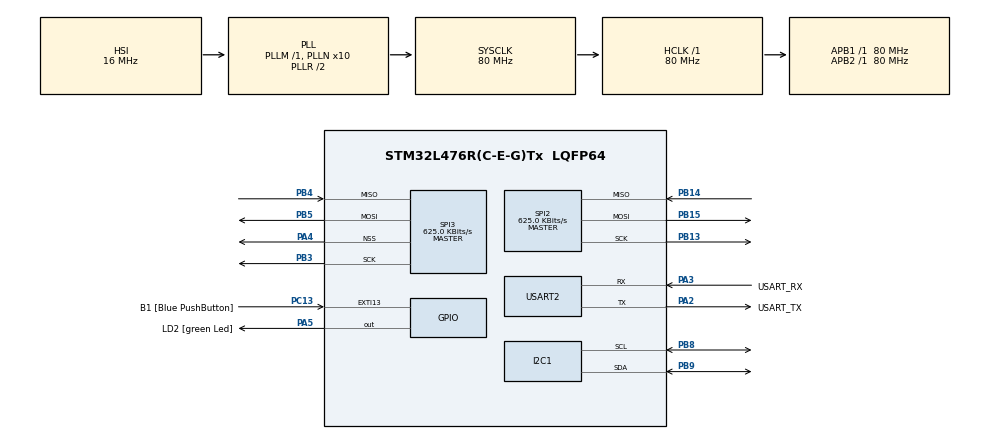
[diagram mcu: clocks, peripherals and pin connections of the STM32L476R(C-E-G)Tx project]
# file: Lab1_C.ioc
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I2C1.Timing=0x10909CEC
Mcu.Family=STM32L4
Mcu.Name=STM32L476R(C-E-G)Tx
Mcu.Package=LQFP64
NVIC.EXTI15_10_IRQn=true\:0\:0\:false\:false\:true\:true\:true\:true
NVIC.PriorityGroup=NVIC_PRIORITYGROUP_4
PA13\ (JTMS-SWDIO).GPIO_Label=TMS
PA13\ (JTMS-SWDIO).Mode=Serial_Wire
PA13\ (JTMS-SWDIO).Signal=SYS_JTMS-SWDIO
PA14\ (JTCK-SWCLK).GPIO_Label=TCK
PA14\ (JTCK-SWCLK).Mode=Serial_Wire
PA14\ (JTCK-SWCLK).Signal=SYS_JTCK-SWCLK
PA2.GPIO_Label=USART_TX
PA2.GPIO_Mode=GPIO_MODE_AF_PP
PA2.GPIO_PuPd=GPIO_NOPULL
PA2.GPIO_Speed=GPIO_SPEED_FREQ_VERY_HIGH
PA2.Mode=Asynchronous
PA2.Signal=USART2_TX
PA3.GPIO_Label=USART_RX
PA3.GPIO_Mode=GPIO_MODE_AF_PP
PA3.GPIO_PuPd=GPIO_NOPULL
PA3.GPIO_Speed=GPIO_SPEED_FREQ_VERY_HIGH
PA3.Mode=Asynchronous
PA3.Signal=USART2_RX
PA4.Mode=NSS_Signal_Hard_Output
PA4.Signal=SPI3_NSS
PA5.GPIO_Label=LD2 [green Led]
PA5.GPIO_ModeDefaultOutputPP=GPIO_MODE_OUTPUT_PP
PA5.GPIO_PuPd=GPIO_NOPULL
PA5.GPIO_Speed=GPIO_SPEED_FREQ_LOW
PA5.Signal=GPIO_Output
PB13.Mode=Full_Duplex_Master
PB13.Signal=SPI2_SCK
PB14.Mode=Full_Duplex_Master
PB14.Signal=SPI2_MISO
PB15.Mode=Full_Duplex_Master
PB15.Signal=SPI2_MOSI
PB3\ (JTDO-TRACESWO).Mode=Full_Duplex_Master
PB3\ (JTDO-TRACESWO).Signal=SPI3_SCK
PB4\ (NJTRST).Mode=Full_Duplex_Master
PB4\ (NJTRST).Signal=SPI3_MISO
PB5.Mode=Full_Duplex_Master
PB5.Signal=SPI3_MOSI
PB8.Mode=I2C
PB8.Signal=I2C1_SCL
PB9.Mode=I2C
PB9.Signal=I2C1_SDA
PC13.GPIO_Label=B1 [Blue PushButton]
PC13.GPIO_ModeDefaultEXTI=GPIO_MODE_IT_FALLING
PC13.GPIO_PuPd=GPIO_NOPULL
PC13.Signal=GPXTI13
PC14-OSC32_IN\ (PC14).Mode=LSE-External-Oscillator
PC14-OSC32_IN\ (PC14).Signal=RCC_OSC32_IN
PC15-OSC32_OUT\ (PC15).Mode=LSE-External-Oscillator
PC15-OSC32_OUT\ (PC15).Signal=RCC_OSC32_OUT
PH0-OSC_IN\ (PH0).Signal=RCC_OSC_IN
PH1-OSC_OUT\ (PH1).Signal=RCC_OSC_OUT
ProjectManager.HeapSize=0x200
ProjectManager.StackSize=0x400
ProjectManager.TargetToolchain=STM32CubeIDE
RCC.ADCFreq_Value=64000000
RCC.AHBFreq_Value=80000000
RCC.APB1Freq_Value=80000000
RCC.APB1TimFreq_Value=80000000
RCC.APB2Freq_Value=80000000
RCC.APB2TimFreq_Value=80000000
RCC.CortexFreq_Value=80000000
RCC.HCLKFreq_Value=80000000
RCC.HSE_VALUE=8000000
RCC.HSI_VALUE=16000000
RCC.MSI_VALUE=4000000
RCC.PLLN=10
RCC.PLLSourceVirtual=RCC_PLLSOURCE_HSI
RCC.PREFETCH_ENABLE=1
RCC.SYSCLKFreq_VALUE=80000000
RCC.SYSCLKSource=RCC_SYSCLKSOURCE_PLLCLK
RCC.USBFreq_Value=64000000
RCC.VCOOutputFreq_Value=160000000
SPI2.BaudRatePrescaler=SPI_BAUDRATEPRESCALER_128
SPI2.CLKPhase=SPI_PHASE_2EDGE
SPI2.CalculateBaudRate=625.0 KBits/s
SPI2.DataSize=SPI_DATASIZE_8BIT
SPI2.Direction=SPI_DIRECTION_2LINES
SPI2.Mode=SPI_MODE_MASTER
SPI2.VirtualType=VM_MASTER
SPI3.BaudRatePrescaler=SPI_BAUDRATEPRESCALER_128
SPI3.CalculateBaudRate=625.0 KBits/s
SPI3.DataSize=SPI_DATASIZE_8BIT
SPI3.Direction=SPI_DIRECTION_2LINES
SPI3.Mode=SPI_MODE_MASTER
SPI3.VirtualNSS=VM_NSSHARD
SPI3.VirtualType=VM_MASTER
USART2.VirtualMode-Asynchronous=VM_ASYNC
VP_FATFS_VS_Generic.Mode=User_defined
board=NUCLEO-L476RG

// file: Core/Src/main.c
/* USER CODE BEGIN Header */
/**
 ******************************************************************************
 * @file           : main.c
 * @brief          : Main program body
 ******************************************************************************
 * @attention
 *
 * Copyright (c) 2024 STMicroelectronics.
 * All rights reserved.
 *
 * This software is licensed under terms that can be found in the LICENSE file
 * in the root directory of this software component.
 * If no LICENSE file comes with this software, it is provided AS-IS.
 *
 ******************************************************************************
 */
/* USER CODE END Header */
#include "main.h"
#include "fatfs.h"

/* USER CODE BEGIN Includes */
#include <string.h>
#include <stdio.h>
#include "stdarg.h"
/* USER CODE END Includes */

/* USER CODE BEGIN PD */
#define DEBUG_PRINT
//#define REALTIME
//#define BINARY_WRITE
/* USER CODE END PD */

I2C_HandleTypeDef hi2c1;

SPI_HandleTypeDef hspi2;
SPI_HandleTypeDef hspi3;

UART_HandleTypeDef huart2;

/* USER CODE BEGIN PV */
// Memory Address for Light Sensor
uint8_t BH1721_ADDR_read = 0x47; // Use 7-bit address + R/W bit
uint8_t BH1721_ADDR_write = 0x46; // Use 7-bit address + R/W bit
uint8_t BH1721_start = 0x01; // Power On
uint8_t BH1721_LRC = 0x13; // continuous low resolution (largest range)

// For Temperature Sensor
uint8_t TC72_WR = 0x80;
uint8_t TC72_OP = 0x12;
uint8_t TC72_RR = 0x03;
//uint8_t TC72_TEMP = 0x15;

uint8_t unmount = 0;

/* USER CODE END PV */

void SystemClock_Config(void);
static void MX_GPIO_Init(void);
static void MX_USART2_UART_Init(void);
static void MX_I2C1_Init(void);
static void MX_SPI2_Init(void);
static void MX_SPI3_Init(void);
/* USER CODE BEGIN PFP */
void myprintf(const char *fmt, ...);
/* USER CODE END PFP */

/* USER CODE BEGIN 0 */
// Interrrupt Handler for Blue Button
void HAL_GPIO_EXTI_Callback(uint16_t GPIO_Pin) {
	if (GPIO_Pin == B1_Pin) {
		unmount = 1;
	}
}

void myprintf(const char *fmt, ...) {
	static char buffer[512];
	va_list args;
	va_start(args, fmt);
	vsnprintf(buffer, sizeof(buffer), fmt, args);
	va_end(args);
	int len = strlen(buffer);
	HAL_UART_Transmit(&huart2, (uint8_t*) buffer, len, -1);
}
/* USER CODE END 0 */

int main(void)
{
  /* USER CODE BEGIN 1 */
	HAL_StatusTypeDef ret;
	uint8_t buf[8];

	char spi_buf[10];

	uint16_t light_val;
	uint8_t flag;
	float lux;
	float temp;

	uint32_t prev_tick;
	uint32_t curr_tick;
	uint32_t delta_tick;
	uint32_t init_tick;
	uint32_t led_tick;
	float time;
	uint8_t led_state;

	//some variables for FatFs
	FATFS FatFs; 	//Fatfs handle
	FRESULT fres; //Result after operations
	FIL fil;
	UINT bytesWrote;
	char str_buf[100];
	float write_buf[3];
	int str_buf_len;

  /* USER CODE END 1 */

  /* MCU Configuration--------------------------------------------------------*/

  /* Reset of all peripherals, Initializes the Flash interface and the Systick. */
  HAL_Init();

  /* Configure the system clock */
  SystemClock_Config();

  /* Initialize all configured peripherals */
  MX_GPIO_Init();
  MX_USART2_UART_Init();
  MX_I2C1_Init();
  MX_SPI2_Init();
  MX_SPI3_Init();
  MX_FATFS_Init();
  /* USER CODE BEGIN 2 */

	// Tell BH1721 to start measurements
	ret = HAL_I2C_Master_Transmit(&hi2c1, BH1721_ADDR_write, &BH1721_start, 1,
	HAL_MAX_DELAY);
	if (ret != HAL_OK) {
		myprintf("Error!\n"); // error message in UART
	}

	// Mount SD Card
	fres = f_mount(&FatFs, "", 1); //1=mount now
	if (fres != FR_OK) {
		myprintf("f_mount error (%i)\r\n", fres);
		while (1)
			;
	}

	// Check available space on SD Card
	DWORD free_clusters, free_sectors, total_sectors;
	FATFS *getFreeFs;

	fres = f_getfree("", &free_clusters, &getFreeFs);
	if (fres != FR_OK) {
		myprintf("f_getfree error (%i)\r\n", fres);
		while (1)
			;
	}
	total_sectors = (getFreeFs->n_fatent - 2) * getFreeFs->csize;
	free_sectors = free_clusters * getFreeFs->csize;

	myprintf(
			"SD card stats:\r\n%ld kB total drive space.\r\n%ld kB available.\r\n",
			total_sectors / 2, free_sectors / 2);

#ifdef BINARY_WRITE
	// Write File Header
	fres = f_open(&fil, "data.bin", FA_CREATE_ALWAYS | FA_WRITE); // new file is created
	f_close(&fil); // close file
#else
	// Write File Header
	fres = f_open(&fil, "data.txt", FA_CREATE_ALWAYS | FA_WRITE); // new file is created
	f_lseek(&fil, f_size(&fil)); //put the file pointer to end of file
	str_buf_len = sprintf(str_buf, "Time; Temperature; Luminosity\r\n"); // generate string to write
	fres = f_write(&fil, str_buf, str_buf_len, &bytesWrote); //write
	f_close(&fil); // close file
#endif
	// LED on
	HAL_GPIO_WritePin(GPIOA, GPIO_PIN_5, GPIO_PIN_SET); //PA5 is Green LED
	led_tick = HAL_GetTick();
	led_state = ~0;

//	// Set SPI2 CS Low
//	HAL_GPIO_WritePin(GPIOB, GPIO_PIN_1, GPIO_PIN_RESET);

	// Configure BH1721 to do low resolution continuously
	ret = HAL_I2C_Master_Transmit(&hi2c1, BH1721_ADDR_write, &BH1721_LRC, 1,
	HAL_MAX_DELAY);
	if (ret != HAL_OK) {
		myprintf("Error!\n"); // error message in UART
	}

//	HAL_GPIO_WritePin(GPIOB, GPIO_PIN_1, GPIO_PIN_SET); // SPI2 CS on
//	HAL_SPI_Transmit(&hspi2, (uint8_t*) &TC72_WR, 1, HAL_MAX_DELAY);
//	HAL_SPI_Transmit(&hspi2, (uint8_t*) &TC72_OP, 1, HAL_MAX_DELAY);
//	HAL_GPIO_WritePin(GPIOB, GPIO_PIN_1, GPIO_PIN_RESET); // SPI2 CS off

	init_tick = HAL_GetTick();
  /* USER CODE END 2 */

  /* Infinite loop */
  /* USER CODE BEGIN WHILE */
	while (1) {

		// Read 2 bytes from BH1721 into a buffer
		ret = HAL_I2C_Master_Receive(&hi2c1, BH1721_ADDR_read, buf, 2,
		HAL_MAX_DELAY);
		if (ret != HAL_OK) {
			myprintf("Error!\n"); // error message in UART
		}

		// Convert into Lux
		light_val = (buf[0] << 8) | buf[1];
		lux = light_val / 1.2;

		// Send 0x80 and 0x15 to Temp Sensor
		HAL_GPIO_WritePin(GPIOB, GPIO_PIN_1, GPIO_PIN_SET); // SPI2 CS on
		HAL_SPI_Transmit(&hspi2, (uint8_t*) &TC72_WR, 1, HAL_MAX_DELAY);
		HAL_SPI_Transmit(&hspi2, (uint8_t*) &TC72_OP, 1, HAL_MAX_DELAY);
		HAL_GPIO_WritePin(GPIOB, GPIO_PIN_1, GPIO_PIN_RESET); // SPI2 CS off

		HAL_Delay(150);

		// Send 0x03 to Temp Sensor and Read 4 Bytes into SPI Buffer
		HAL_GPIO_WritePin(GPIOB, GPIO_PIN_1, GPIO_PIN_SET); // SPI2 CS on
		HAL_SPI_Transmit(&hspi2, (uint8_t*) &TC72_RR, 1, HAL_MAX_DELAY);
		HAL_SPI_Receive(&hspi2, (uint8_t*) spi_buf, 4, HAL_MAX_DELAY);
		HAL_GPIO_WritePin(GPIOB, GPIO_PIN_1, GPIO_PIN_RESET); // SPI2 CS off

		// Convert Temp Data into Celsius
		flag = spi_buf[2] >> 6; //right shift by 6 bits

		if (spi_buf[1] >= 128) { //cause 128 means -0
			temp = -((spi_buf[1]) - 128) - (flag * 0.25);
		} else {
			temp = spi_buf[1] + (flag * 0.25);
		}

		curr_tick = HAL_GetTick();
		time = (float) (curr_tick - init_tick) / 1000;

#ifdef DEBUG_PRINT
		myprintf("Light: %.2f lux\r\n", lux);

		myprintf("Temp Val: %x %x %x %x\r\n", (unsigned int)spi_buf[0], (unsigned int)spi_buf[1],
				(unsigned int)spi_buf[2], (unsigned int)spi_buf[3]);

		myprintf("Temp : %.2f\r\n", temp);
#endif

#ifdef REALTIME
		myprintf("LIVE,%.2f,%.2f\r\n", temp, lux);
#endif

		// write data to SD card
#ifdef BINARY_WRITE
		fres = f_open(&fil, "data.bin", FA_WRITE | FA_OPEN_APPEND);
		// 4 Byte 4 Byte 4 Byte
		// <Time><Temp><Luminosity>
		write_buf[0] = time;
		write_buf[1] = temp;
		write_buf[2] = lux;
		fres = f_write(&fil, write_buf, sizeof(write_buf), &bytesWrote);
		f_close(&fil); // close file
#else
		fres = f_open(&fil, "data.txt", FA_WRITE | FA_OPEN_APPEND);
		f_lseek(&fil, f_size(&fil)); //put the file pointer to end of file
		str_buf_len = sprintf(str_buf, "%.3f;%.2f;%.2f\r\n", time, temp, lux); // generate string to write
		fres = f_write(&fil, str_buf, str_buf_len, &bytesWrote); //write
		f_close(&fil); // close file
#endif

		delta_tick = HAL_GetTick() - prev_tick;
		prev_tick = HAL_GetTick();

		myprintf("Time between measurement: %d\r\n", delta_tick);

		// check if writing worked
#ifdef DEBUG_PRINT
		if (fres == FR_OK) {
			myprintf("Wrote %i bytes to 'data.txt'!\r\n", bytesWrote);
		} else {
			myprintf("f_write error\r\n");
		}
#endif

		// If blue button is pressed, unmount SD Card
		if (unmount) {
			fres = f_mount(NULL, "", 1);
			if (fres == FR_OK) {
				myprintf("SD CARD UNMOUNTED successfully...\r\n");
			}
			while (1)
				; // Halt the programme
		}

		// Turn off LED
		if (HAL_GetTick() - led_tick > 500) {
			if (led_state) {
				HAL_GPIO_WritePin(GPIOA, GPIO_PIN_5, GPIO_PIN_RESET);
			} else {
				HAL_GPIO_WritePin(GPIOA, GPIO_PIN_5, GPIO_PIN_SET);
			}
			led_state = ~led_state; // Invert LED State
			led_tick = HAL_GetTick();
		}
    /* USER CODE END WHILE */

	}
}

void SystemClock_Config(void)
{
  RCC_OscInitTypeDef RCC_OscInitStruct = {0};
  RCC_ClkInitTypeDef RCC_ClkInitStruct = {0};

  /** Configure the main internal regulator output voltage
  */
  if (HAL_PWREx_ControlVoltageScaling(PWR_REGULATOR_VOLTAGE_SCALE1) != HAL_OK)
  {
    Error_Handler();
  }

  /** Initializes the RCC Oscillators according to the specified parameters
  * in the RCC_OscInitTypeDef structure.
  */
  RCC_OscInitStruct.OscillatorType = RCC_OSCILLATORTYPE_HSI;
  RCC_OscInitStruct.HSIState = RCC_HSI_ON;
  RCC_OscInitStruct.HSICalibrationValue = RCC_HSICALIBRATION_DEFAULT;
  RCC_OscInitStruct.PLL.PLLState = RCC_PLL_ON;
  RCC_OscInitStruct.PLL.PLLSource = RCC_PLLSOURCE_HSI;
  RCC_OscInitStruct.PLL.PLLM = 1;
  RCC_OscInitStruct.PLL.PLLN = 10;
  RCC_OscInitStruct.PLL.PLLP = RCC_PLLP_DIV7;
  RCC_OscInitStruct.PLL.PLLQ = RCC_PLLQ_DIV2;
  RCC_OscInitStruct.PLL.PLLR = RCC_PLLR_DIV2;
  if (HAL_RCC_OscConfig(&RCC_OscInitStruct) != HAL_OK)
  {
    Error_Handler();
  }

  /** Initializes the CPU, AHB and APB buses clocks
  */
  RCC_ClkInitStruct.ClockType = RCC_CLOCKTYPE_HCLK|RCC_CLOCKTYPE_SYSCLK
                              |RCC_CLOCKTYPE_PCLK1|RCC_CLOCKTYPE_PCLK2;
  RCC_ClkInitStruct.SYSCLKSource = RCC_SYSCLKSOURCE_PLLCLK;
  RCC_ClkInitStruct.AHBCLKDivider = RCC_SYSCLK_DIV1;
  RCC_ClkInitStruct.APB1CLKDivider = RCC_HCLK_DIV1;
  RCC_ClkInitStruct.APB2CLKDivider = RCC_HCLK_DIV1;

  if (HAL_RCC_ClockConfig(&RCC_ClkInitStruct, FLASH_LATENCY_4) != HAL_OK)
  {
    Error_Handler();
  }
}

static void MX_I2C1_Init(void)
{

  hi2c1.Instance = I2C1;
  hi2c1.Init.Timing = 0x10909CEC;
  hi2c1.Init.OwnAddress1 = 0;
  hi2c1.Init.AddressingMode = I2C_ADDRESSINGMODE_7BIT;
  hi2c1.Init.DualAddressMode = I2C_DUALADDRESS_DISABLE;
  hi2c1.Init.OwnAddress2 = 0;
  hi2c1.Init.OwnAddress2Masks = I2C_OA2_NOMASK;
  hi2c1.Init.GeneralCallMode = I2C_GENERALCALL_DISABLE;
  hi2c1.Init.NoStretchMode = I2C_NOSTRETCH_DISABLE;
  if (HAL_I2C_Init(&hi2c1) != HAL_OK)
  {
    Error_Handler();
  }

  /** Configure Analogue filter
  */
  if (HAL_I2CEx_ConfigAnalogFilter(&hi2c1, I2C_ANALOGFILTER_ENABLE) != HAL_OK)
  {
    Error_Handler();
  }

  /** Configure Digital filter
  */
  if (HAL_I2CEx_ConfigDigitalFilter(&hi2c1, 0) != HAL_OK)
  {
    Error_Handler();
  }

}

static void MX_SPI2_Init(void)
{

  /* SPI2 parameter configuration*/
  hspi2.Instance = SPI2;
  hspi2.Init.Mode = SPI_MODE_MASTER;
  hspi2.Init.Direction = SPI_DIRECTION_2LINES;
  hspi2.Init.DataSize = SPI_DATASIZE_8BIT;
  hspi2.Init.CLKPolarity = SPI_POLARITY_LOW;
  hspi2.Init.CLKPhase = SPI_PHASE_2EDGE;
  hspi2.Init.NSS = SPI_NSS_SOFT;
  hspi2.Init.BaudRatePrescaler = SPI_BAUDRATEPRESCALER_128;
  hspi2.Init.FirstBit = SPI_FIRSTBIT_MSB;
  hspi2.Init.TIMode = SPI_TIMODE_DISABLE;
  hspi2.Init.CRCCalculation = SPI_CRCCALCULATION_DISABLE;
  hspi2.Init.CRCPolynomial = 7;
  hspi2.Init.CRCLength = SPI_CRC_LENGTH_DATASIZE;
  hspi2.Init.NSSPMode = SPI_NSS_PULSE_DISABLE;
  if (HAL_SPI_Init(&hspi2) != HAL_OK)
  {
    Error_Handler();
  }

}

static void MX_SPI3_Init(void)
{

  /* SPI3 parameter configuration*/
  hspi3.Instance = SPI3;
  hspi3.Init.Mode = SPI_MODE_MASTER;
  hspi3.Init.Direction = SPI_DIRECTION_2LINES;
  hspi3.Init.DataSize = SPI_DATASIZE_8BIT;
  hspi3.Init.CLKPolarity = SPI_POLARITY_LOW;
  hspi3.Init.CLKPhase = SPI_PHASE_1EDGE;
  hspi3.Init.NSS = SPI_NSS_HARD_OUTPUT;
  hspi3.Init.BaudRatePrescaler = SPI_BAUDRATEPRESCALER_128;
  hspi3.Init.FirstBit = SPI_FIRSTBIT_MSB;
  hspi3.Init.TIMode = SPI_TIMODE_DISABLE;
  hspi3.Init.CRCCalculation = SPI_CRCCALCULATION_DISABLE;
  hspi3.Init.CRCPolynomial = 7;
  hspi3.Init.CRCLength = SPI_CRC_LENGTH_DATASIZE;
  hspi3.Init.NSSPMode = SPI_NSS_PULSE_ENABLE;
  if (HAL_SPI_Init(&hspi3) != HAL_OK)
  {
    Error_Handler();
  }

}

static void MX_USART2_UART_Init(void)
{

  huart2.Instance = USART2;
  huart2.Init.BaudRate = 115200;
  huart2.Init.WordLength = UART_WORDLENGTH_8B;
  huart2.Init.StopBits = UART_STOPBITS_1;
  huart2.Init.Parity = UART_PARITY_NONE;
  huart2.Init.Mode = UART_MODE_TX_RX;
  huart2.Init.HwFlowCtl = UART_HWCONTROL_NONE;
  huart2.Init.OverSampling = UART_OVERSAMPLING_16;
  huart2.Init.OneBitSampling = UART_ONE_BIT_SAMPLE_DISABLE;
  huart2.AdvancedInit.AdvFeatureInit = UART_ADVFEATURE_NO_INIT;
  if (HAL_UART_Init(&huart2) != HAL_OK)
  {
    Error_Handler();
  }

}

static void MX_GPIO_Init(void)
{
  GPIO_InitTypeDef GPIO_InitStruct = {0};

  /* GPIO Ports Clock Enable */
  __HAL_RCC_GPIOC_CLK_ENABLE();
  __HAL_RCC_GPIOH_CLK_ENABLE();
  __HAL_RCC_GPIOA_CLK_ENABLE();
  __HAL_RCC_GPIOB_CLK_ENABLE();

  /*Configure GPIO pin Output Level */
  HAL_GPIO_WritePin(LD2_GPIO_Port, LD2_Pin, GPIO_PIN_RESET);

  /*Configure GPIO pin : B1_Pin */
  GPIO_InitStruct.Pin = B1_Pin;
  GPIO_InitStruct.Mode = GPIO_MODE_IT_FALLING;
  GPIO_InitStruct.Pull = GPIO_NOPULL;
  HAL_GPIO_Init(B1_GPIO_Port, &GPIO_InitStruct);

  /*Configure GPIO pin : LD2_Pin */
  GPIO_InitStruct.Pin = LD2_Pin;
  GPIO_InitStruct.Mode = GPIO_MODE_OUTPUT_PP;
  GPIO_InitStruct.Pull = GPIO_NOPULL;
  GPIO_InitStruct.Speed = GPIO_SPEED_FREQ_LOW;
  HAL_GPIO_Init(LD2_GPIO_Port, &GPIO_InitStruct);

  /* EXTI interrupt init*/
  HAL_NVIC_SetPriority(EXTI15_10_IRQn, 0, 0);
  HAL_NVIC_EnableIRQ(EXTI15_10_IRQn);

}

void Error_Handler(void)
{
	__disable_irq();
	while (1) {
	}
}
